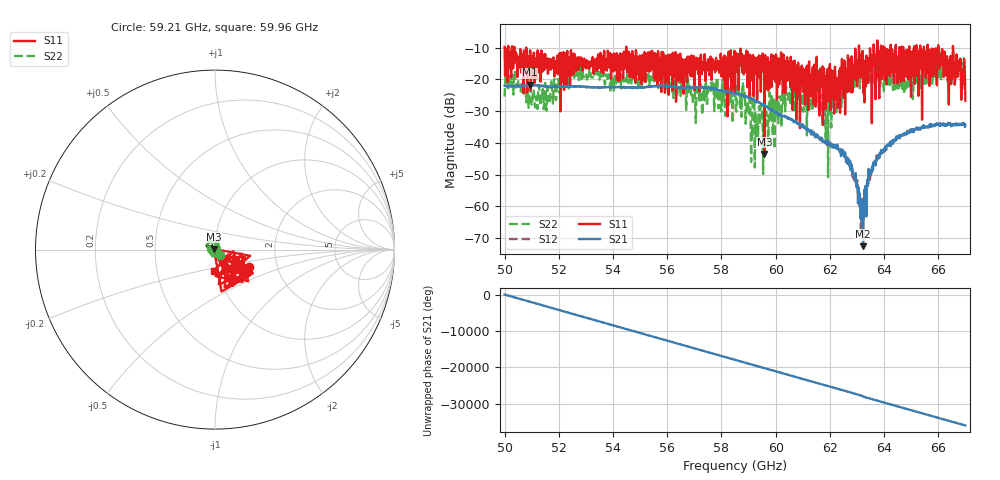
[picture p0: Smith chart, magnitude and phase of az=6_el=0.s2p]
!Created with skrf (http://scikit-rf.org).
# GHz S RI R 50.0
!freq ReS11 ImS11 ReS21 ImS21 ReS12 ImS12 ReS22 ImS22
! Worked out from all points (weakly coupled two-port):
!   1001 points, 50 GHz to 67 GHz, reference 50 ohm
!   highest |S21| = -21.63 dB at 50.94 GHz (marker M1); lowest = -72.5 dB at 63.23 GHz (marker M2)
!   lowest |S11| = -43.4 dB at 59.59 GHz (marker M3), VSWR 1.01, Z = 49.4 + j0.334 ohm
!   |S11| at or under -10 dB: 50.8 GHz to 54.49 GHz (3.688 GHz wide, 7.01 % of centre); 54.49 GHz to 63.07 GHz (8.581 GHz wide, 14.6 % of centre); 63.08 GHz to 63.61 GHz (536.9 MHz wide, 0.848 % of centre) (the widest 3 of 25)
!   |S22| runs from -50.8 to -13.9 dB; largest |S21 - S12| = 0.0022
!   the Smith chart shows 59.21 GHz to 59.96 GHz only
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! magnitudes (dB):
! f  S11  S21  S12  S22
! 50 GHz  -9.8  -21.9  -21.9  -25.4
! 50.42 GHz  -13.5  -22.1  -22.1  -22.6
! 50.94 GHz  -10.8  -21.6  -21.7  -22.9
! 52.84 GHz  -14.2  -22.2  -22.3  -20.0
! 55.68 GHz  -13.1  -22.1  -22.0  -22.7
! 56.99 GHz  -14.6  -22.5  -22.5  -21.7
! 57.62 GHz  -15.6  -23.0  -22.9  -21.0
! 58.5 GHz  -23.7  -24.4  -24.3  -25.1
! 59.59 GHz  -43.4  -28.3  -28.4  -30.6
! 59.84 GHz  -12.1  -29.8  -29.7  -25.2
! 60.03 GHz  -14.5  -30.6  -30.6  -31.8
! 60.64 GHz  -14.4  -33.1  -33.2  -22.3
! 61.34 GHz  -24.9  -36.2  -36.8  -26.0
! 62 GHz  -15.1  -40.6  -40.9  -25.2
! 62.63 GHz  -18.0  -44.7  -44.9  -23.3
! 63.23 GHz  -14.4  -72.5  -61.8  -20.3
! 63.52 GHz  -15.3  -50.0  -49.8  -21.5
! 64.18 GHz  -17.7  -40.3  -40.6  -18.1
! 66.08 GHz  -15.1  -33.7  -34.2  -15.5
! 66.42 GHz  -15.4  -34.1  -34.0  -16.2
! 66.75 GHz  -17.3  -34.4  -34.6  -18.6
! 67 GHz  -26.7  -34.4  -34.5  -15.7
